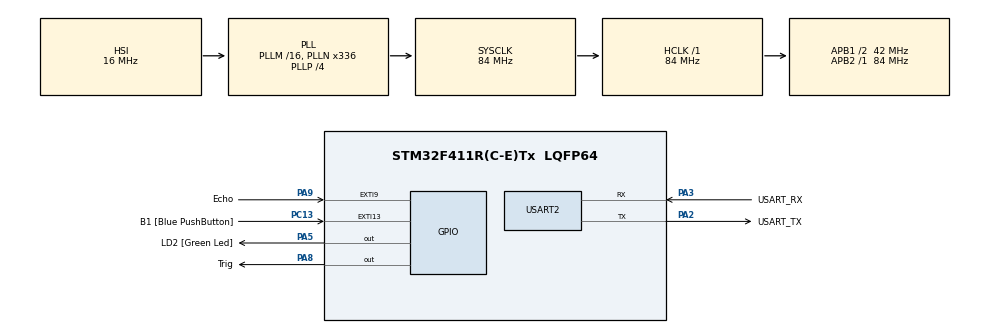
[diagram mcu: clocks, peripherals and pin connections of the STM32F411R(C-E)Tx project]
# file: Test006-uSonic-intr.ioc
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Mcu.Family=STM32F4
Mcu.Name=STM32F411R(C-E)Tx
Mcu.Package=LQFP64
NVIC.EXTI9_5_IRQn=true\:0\:0\:false\:false\:true\:true\:true\:true
NVIC.PriorityGroup=NVIC_PRIORITYGROUP_0
NVIC.TIM3_IRQn=true\:0\:0\:false\:false\:true\:true\:true\:true
PA13.GPIO_Label=TMS
PA13.Mode=Serial_Wire
PA13.Signal=SYS_JTMS-SWDIO
PA14.GPIO_Label=TCK
PA14.Mode=Serial_Wire
PA14.Signal=SYS_JTCK-SWCLK
PA2.GPIO_Label=USART_TX
PA2.Mode=Asynchronous
PA2.Signal=USART2_TX
PA3.GPIO_Label=USART_RX
PA3.Mode=Asynchronous
PA3.Signal=USART2_RX
PA5.GPIO_Label=LD2 [Green Led]
PA5.Signal=GPIO_Output
PA8.GPIO_Label=Trig
PA8.Signal=GPIO_Output
PA9.GPIO_Label=Echo
PA9.GPIO_ModeDefaultEXTI=GPIO_MODE_IT_RISING_FALLING
PA9.Signal=GPXTI9
PB3.GPIO_Label=SWO
PB3.Signal=SYS_JTDO-SWO
PC13-ANTI_TAMP.GPIO_Label=B1 [Blue PushButton]
PC13-ANTI_TAMP.GPIO_ModeDefaultEXTI=GPIO_MODE_IT_FALLING
PC13-ANTI_TAMP.Signal=GPXTI13
PC14-OSC32_IN.Mode=LSE-External-Oscillator
PC14-OSC32_IN.Signal=RCC_OSC32_IN
PC15-OSC32_OUT.Mode=LSE-External-Oscillator
PC15-OSC32_OUT.Signal=RCC_OSC32_OUT
PH0\ -\ OSC_IN.Mode=HSE-External-Clock-Source
PH0\ -\ OSC_IN.Signal=RCC_OSC_IN
PH1\ -\ OSC_OUT.Mode=HSE-External-Clock-Source
PH1\ -\ OSC_OUT.Signal=RCC_OSC_OUT
ProjectManager.HeapSize=0x200
ProjectManager.StackSize=0x400
ProjectManager.TargetToolchain=STM32CubeIDE
RCC.48MHZClocksFreq_Value=84000000
RCC.AHBFreq_Value=84000000
RCC.APB1CLKDivider=RCC_HCLK_DIV2
RCC.APB1Freq_Value=42000000
RCC.APB1TimFreq_Value=84000000
RCC.APB2Freq_Value=84000000
RCC.APB2TimFreq_Value=84000000
RCC.CortexFreq_Value=84000000
RCC.FLatency-AdvancedSettings=FLASH_LATENCY_2
RCC.HCLKFreq_Value=84000000
RCC.HSE_VALUE=8000000
RCC.HSI_VALUE=16000000
RCC.PLLN=336
RCC.PLLP=RCC_PLLP_DIV4
RCC.SYSCLKFreq_VALUE=84000000
RCC.SYSCLKSource=RCC_SYSCLKSOURCE_PLLCLK
RCC.VCOOutputFreq_Value=336000000
TIM2.Prescaler=84-1
TIM3.Period=5000-1
TIM3.Prescaler=2100-1
USART2.VirtualMode=VM_ASYNC
VP_TIM2_VS_ClockSourceINT.Mode=Internal
VP_TIM3_VS_ClockSourceINT.Mode=Internal
board=NUCLEO-F411RE

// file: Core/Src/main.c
/* USER CODE BEGIN Header */
/**
  ******************************************************************************
  * @file           : main.c
  * @brief          : Main program body
  ******************************************************************************
  * @attention
  *
  * Copyright (c) 2025 STMicroelectronics.
  * All rights reserved.
  *
  * This software is licensed under terms that can be found in the LICENSE file
  * in the root directory of this software component.
  * If no LICENSE file comes with this software, it is provided AS-IS.
  *
  ******************************************************************************
  */
/* USER CODE END Header */
#include "main.h"

/* USER CODE BEGIN Includes */
//double Distance();
#include "uSonic.h"
/* USER CODE END Includes */

TIM_HandleTypeDef htim2;
TIM_HandleTypeDef htim3;

UART_HandleTypeDef huart2;

void SystemClock_Config(void);
static void MX_GPIO_Init(void);
static void MX_USART2_UART_Init(void);
static void MX_TIM2_Init(void);
static void MX_TIM3_Init(void);

/* USER CODE BEGIN 0 */
int t1 = 0, t2 = 0;
double dist = 0.0;
void HAL_GPIO_EXTI_Callback(uint16_t GPIO_Pin)
{
	int t1, t2;
	if(GPIO_Pin == Echo_Pin)
	{
		if(HAL_GPIO_ReadPin(Echo_GPIO_Port,Echo_Pin) == 1)//rising time
		{
			t1 = htim2.Instance->CNT;
		}
		else //falling time
		{
			t2 = htim2.Instance->CNT;
			dist = (t2-t1) * 0.17;
		}
	}
}

void HAL_TIM_PeriodElapsedCallback(TIM_HandleTypeDef *htim)
{
	Trigger();
}
/* USER CODE END 0 */

int main(void)
{

  /* MCU Configuration--------------------------------------------------------*/

  /* Reset of all peripherals, Initializes the Flash interface and the Systick. */
  HAL_Init();

  /* Configure the system clock */
  SystemClock_Config();

  /* Initialize all configured peripherals */
  MX_GPIO_Init();
  MX_USART2_UART_Init();
  MX_TIM2_Init();
  MX_TIM3_Init();
  /* USER CODE BEGIN 2 */
ProgramStart("uSonic Test - GPIO Interrupt");
HAL_TIM_Base_Start(&htim2);
HAL_TIM_Base_Start_IT(&htim3);
  /* USER CODE END 2 */

  /* Infinite loop */
  /* USER CODE BEGIN WHILE */
  while (1)
  {
	 // Trigger();
	  printf("Distance : %f\r\n",dist);
	  HAL_Delay(500);
    /* USER CODE END WHILE */

  }
}

void SystemClock_Config(void)
{
  RCC_OscInitTypeDef RCC_OscInitStruct = {0};
  RCC_ClkInitTypeDef RCC_ClkInitStruct = {0};

  /** Configure the main internal regulator output voltage
  */
  __HAL_RCC_PWR_CLK_ENABLE();
  __HAL_PWR_VOLTAGESCALING_CONFIG(PWR_REGULATOR_VOLTAGE_SCALE1);

  /** Initializes the RCC Oscillators according to the specified parameters
  * in the RCC_OscInitTypeDef structure.
  */
  RCC_OscInitStruct.OscillatorType = RCC_OSCILLATORTYPE_HSI;
  RCC_OscInitStruct.HSIState = RCC_HSI_ON;
  RCC_OscInitStruct.HSICalibrationValue = RCC_HSICALIBRATION_DEFAULT;
  RCC_OscInitStruct.PLL.PLLState = RCC_PLL_ON;
  RCC_OscInitStruct.PLL.PLLSource = RCC_PLLSOURCE_HSI;
  RCC_OscInitStruct.PLL.PLLM = 16;
  RCC_OscInitStruct.PLL.PLLN = 336;
  RCC_OscInitStruct.PLL.PLLP = RCC_PLLP_DIV4;
  RCC_OscInitStruct.PLL.PLLQ = 4;
  if (HAL_RCC_OscConfig(&RCC_OscInitStruct) != HAL_OK)
  {
    Error_Handler();
  }

  /** Initializes the CPU, AHB and APB buses clocks
  */
  RCC_ClkInitStruct.ClockType = RCC_CLOCKTYPE_HCLK|RCC_CLOCKTYPE_SYSCLK
                              |RCC_CLOCKTYPE_PCLK1|RCC_CLOCKTYPE_PCLK2;
  RCC_ClkInitStruct.SYSCLKSource = RCC_SYSCLKSOURCE_PLLCLK;
  RCC_ClkInitStruct.AHBCLKDivider = RCC_SYSCLK_DIV1;
  RCC_ClkInitStruct.APB1CLKDivider = RCC_HCLK_DIV2;
  RCC_ClkInitStruct.APB2CLKDivider = RCC_HCLK_DIV1;

  if (HAL_RCC_ClockConfig(&RCC_ClkInitStruct, FLASH_LATENCY_2) != HAL_OK)
  {
    Error_Handler();
  }
}

static void MX_TIM2_Init(void)
{

  TIM_ClockConfigTypeDef sClockSourceConfig = {0};
  TIM_MasterConfigTypeDef sMasterConfig = {0};

  htim2.Instance = TIM2;
  htim2.Init.Prescaler = 84-1;
  htim2.Init.CounterMode = TIM_COUNTERMODE_UP;
  htim2.Init.Period = 4294967295;
  htim2.Init.ClockDivision = TIM_CLOCKDIVISION_DIV1;
  htim2.Init.AutoReloadPreload = TIM_AUTORELOAD_PRELOAD_DISABLE;
  if (HAL_TIM_Base_Init(&htim2) != HAL_OK)
  {
    Error_Handler();
  }
  sClockSourceConfig.ClockSource = TIM_CLOCKSOURCE_INTERNAL;
  if (HAL_TIM_ConfigClockSource(&htim2, &sClockSourceConfig) != HAL_OK)
  {
    Error_Handler();
  }
  sMasterConfig.MasterOutputTrigger = TIM_TRGO_RESET;
  sMasterConfig.MasterSlaveMode = TIM_MASTERSLAVEMODE_DISABLE;
  if (HAL_TIMEx_MasterConfigSynchronization(&htim2, &sMasterConfig) != HAL_OK)
  {
    Error_Handler();
  }

}

static void MX_TIM3_Init(void)
{

  TIM_ClockConfigTypeDef sClockSourceConfig = {0};
  TIM_MasterConfigTypeDef sMasterConfig = {0};

  htim3.Instance = TIM3;
  htim3.Init.Prescaler = 2100-1;
  htim3.Init.CounterMode = TIM_COUNTERMODE_UP;
  htim3.Init.Period = 5000-1;
  htim3.Init.ClockDivision = TIM_CLOCKDIVISION_DIV1;
  htim3.Init.AutoReloadPreload = TIM_AUTORELOAD_PRELOAD_DISABLE;
  if (HAL_TIM_Base_Init(&htim3) != HAL_OK)
  {
    Error_Handler();
  }
  sClockSourceConfig.ClockSource = TIM_CLOCKSOURCE_INTERNAL;
  if (HAL_TIM_ConfigClockSource(&htim3, &sClockSourceConfig) != HAL_OK)
  {
    Error_Handler();
  }
  sMasterConfig.MasterOutputTrigger = TIM_TRGO_RESET;
  sMasterConfig.MasterSlaveMode = TIM_MASTERSLAVEMODE_DISABLE;
  if (HAL_TIMEx_MasterConfigSynchronization(&htim3, &sMasterConfig) != HAL_OK)
  {
    Error_Handler();
  }

}

static void MX_USART2_UART_Init(void)
{

  huart2.Instance = USART2;
  huart2.Init.BaudRate = 115200;
  huart2.Init.WordLength = UART_WORDLENGTH_8B;
  huart2.Init.StopBits = UART_STOPBITS_1;
  huart2.Init.Parity = UART_PARITY_NONE;
  huart2.Init.Mode = UART_MODE_TX_RX;
  huart2.Init.HwFlowCtl = UART_HWCONTROL_NONE;
  huart2.Init.OverSampling = UART_OVERSAMPLING_16;
  if (HAL_UART_Init(&huart2) != HAL_OK)
  {
    Error_Handler();
  }

}

static void MX_GPIO_Init(void)
{
  GPIO_InitTypeDef GPIO_InitStruct = {0};

  /* GPIO Ports Clock Enable */
  __HAL_RCC_GPIOC_CLK_ENABLE();
  __HAL_RCC_GPIOH_CLK_ENABLE();
  __HAL_RCC_GPIOA_CLK_ENABLE();
  __HAL_RCC_GPIOB_CLK_ENABLE();

  /*Configure GPIO pin Output Level */
  HAL_GPIO_WritePin(GPIOA, LD2_Pin|Trig_Pin, GPIO_PIN_RESET);

  /*Configure GPIO pin : B1_Pin */
  GPIO_InitStruct.Pin = B1_Pin;
  GPIO_InitStruct.Mode = GPIO_MODE_IT_FALLING;
  GPIO_InitStruct.Pull = GPIO_NOPULL;
  HAL_GPIO_Init(B1_GPIO_Port, &GPIO_InitStruct);

  /*Configure GPIO pins : LD2_Pin Trig_Pin */
  GPIO_InitStruct.Pin = LD2_Pin|Trig_Pin;
  GPIO_InitStruct.Mode = GPIO_MODE_OUTPUT_PP;
  GPIO_InitStruct.Pull = GPIO_NOPULL;
  GPIO_InitStruct.Speed = GPIO_SPEED_FREQ_LOW;
  HAL_GPIO_Init(GPIOA, &GPIO_InitStruct);

  /*Configure GPIO pin : Echo_Pin */
  GPIO_InitStruct.Pin = Echo_Pin;
  GPIO_InitStruct.Mode = GPIO_MODE_IT_RISING_FALLING;
  GPIO_InitStruct.Pull = GPIO_NOPULL;
  HAL_GPIO_Init(Echo_GPIO_Port, &GPIO_InitStruct);

  /* EXTI interrupt init*/
  HAL_NVIC_SetPriority(EXTI9_5_IRQn, 0, 0);
  HAL_NVIC_EnableIRQ(EXTI9_5_IRQn);

}

void Error_Handler(void)
{
  __disable_irq();
  while (1)
  {
  }
}
